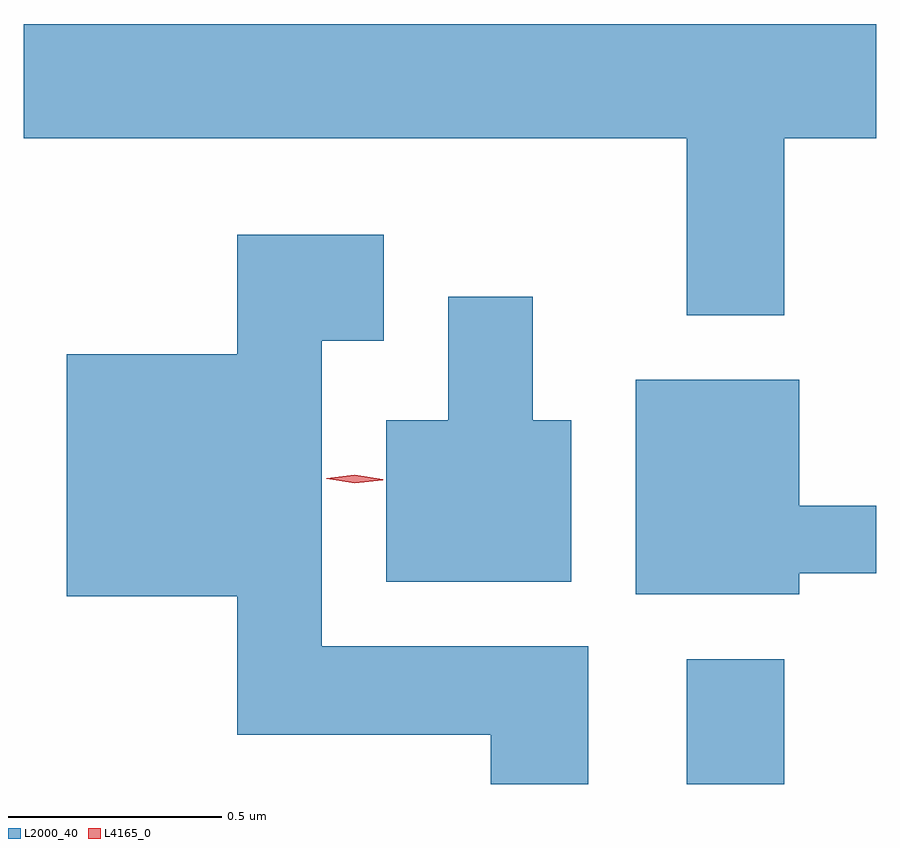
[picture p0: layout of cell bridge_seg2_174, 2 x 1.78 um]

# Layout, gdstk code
import gdstk
lib = gdstk.Library(unit=1e-6, precision=1e-09)
def R(c, l, rs):  # rectangles x0, y0, x1, y1
    for r in rs: c.add(gdstk.rectangle(r[:2], r[2:], *l))
def P(c, l, *ps):  # polygons
    for p in ps: c.add(gdstk.Polygon(p, *l))
L2000_40 = (2000, 40)
L4165_0 = (4165, 0)

bridge_seg2_174 = lib.new_cell('bridge_seg2_174')
R(bridge_seg2_174, L2000_40, [(802.431,1053.461,802.659,1053.754)])
P(bridge_seg2_174, L2000_40, [(802.659,1054.976),(802.875,1054.976),(802.875,1055.244),(800.875,1055.244),(800.875,1054.976),(802.431,1054.976),(802.431,1054.561),(802.659,1054.561)],
  [(802.199,1053.784),(801.574,1053.784),(801.574,1054.501),(801.719,1054.501),(801.719,1054.749),(801.376,1054.749),(801.376,1054.469),(800.976,1054.469),(800.976,1053.901),(801.376,1053.901),(801.376,1053.576),(801.971,1053.576),(801.971,1053.461),(802.199,1053.461)],
  [(802.159,1054.314),(802.069,1054.314),(802.069,1054.604),(801.871,1054.604),(801.871,1054.314),(801.726,1054.314),(801.726,1053.936),(802.159,1053.936)],
  [(802.694,1053.956),(802.875,1053.956),(802.875,1054.114),(802.694,1054.114),(802.694,1054.409),(802.311,1054.409),(802.311,1053.906),(802.694,1053.906)])
P(bridge_seg2_174, L4165_0, [(801.652,1054.166),(801.586,1054.177),(801.585,1054.177),(801.586,1054.178),(801.652,1054.186),(801.717,1054.176),(801.718,1054.175),(801.717,1054.174)])

lib.write_gds('bridge_seg2_174.gds')
